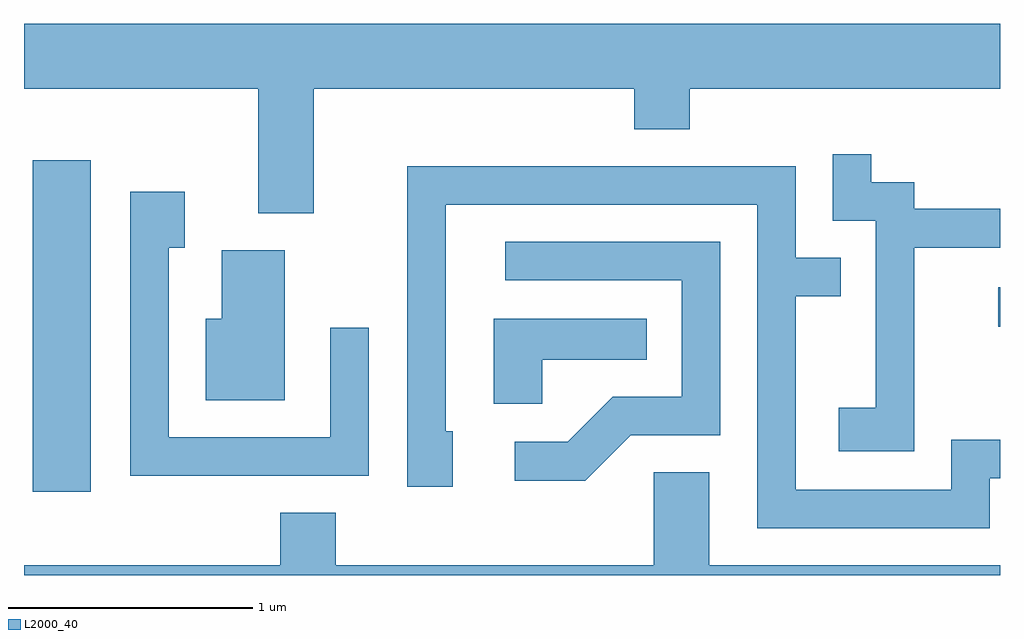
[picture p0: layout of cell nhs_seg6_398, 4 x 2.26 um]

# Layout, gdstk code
import gdstk
lib = gdstk.Library(unit=1e-6, precision=1e-09)
def R(c, l, rs):  # rectangles x0, y0, x1, y1
    for r in rs: c.add(gdstk.rectangle(r[:2], r[2:], *l))
def P(c, l, *ps):  # polygons
    for p in ps: c.add(gdstk.Polygon(p, *l))
L2000_40 = (2000, 40)

nhs_seg6_398 = lib.new_cell('nhs_seg6_398')
R(nhs_seg6_398, L2000_40, [(195.646,1650.506,195.884,1651.864), (199.603,1651.181,199.611,1651.344)])
P(nhs_seg6_398, L2000_40, [(196.799,1652.156),(198.111,1652.156),(198.111,1651.991),(198.339,1651.991),(198.339,1652.156),(199.611,1652.156),(199.611,1652.424),(195.611,1652.424),(195.611,1652.156),(196.571,1652.156),(196.571,1651.646),(196.799,1651.646)],
  [(199.259,1651.506),(199.611,1651.506),(199.611,1651.664),(199.259,1651.664),(199.259,1651.774),(199.084,1651.774),(199.084,1651.888),(198.926,1651.888),(198.926,1651.616),(199.101,1651.616),(199.101,1650.849),(198.951,1650.849),(198.951,1650.671),(199.259,1650.671)],
  [(199.569,1650.561),(199.611,1650.561),(199.611,1650.719),(199.411,1650.719),(199.411,1650.514),(198.774,1650.514),(198.774,1651.306),(198.958,1651.306),(198.958,1651.464),(198.774,1651.464),(198.774,1651.839),(197.181,1651.839),(197.181,1650.526),(197.369,1650.526),(197.369,1650.754),(197.339,1650.754),(197.339,1651.681),(198.616,1651.681),(198.616,1650.356),(199.569,1650.356)],
  [(197.024,1651.178),(196.866,1651.178),(196.866,1650.729),(196.204,1650.729),(196.204,1651.506),(196.269,1651.506),(196.269,1651.734),(196.046,1651.734),(196.046,1650.571),(197.024,1650.571)],
  [(198.097,1650.736),(198.464,1650.736),(198.464,1651.529),(197.583,1651.529),(197.583,1651.371),(198.306,1651.371),(198.306,1650.894),(198.024,1650.894),(197.839,1650.709),(197.623,1650.709),(197.623,1650.551),(197.912,1650.551)],
  [(196.679,1651.494),(196.421,1651.494),(196.421,1651.214),(196.356,1651.214),(196.356,1650.881),(196.679,1650.881)],
  [(197.734,1651.046),(198.163,1651.046),(198.163,1651.214),(197.536,1651.214),(197.536,1650.866),(197.734,1650.866)],
  [(199.611,1650.204),(198.419,1650.204),(198.419,1650.584),(198.191,1650.584),(198.191,1650.204),(196.889,1650.204),(196.889,1650.419),(196.661,1650.419),(196.661,1650.204),(195.611,1650.204),(195.611,1650.162),(199.611,1650.162)])

lib.write_gds('nhs_seg6_398.gds')
